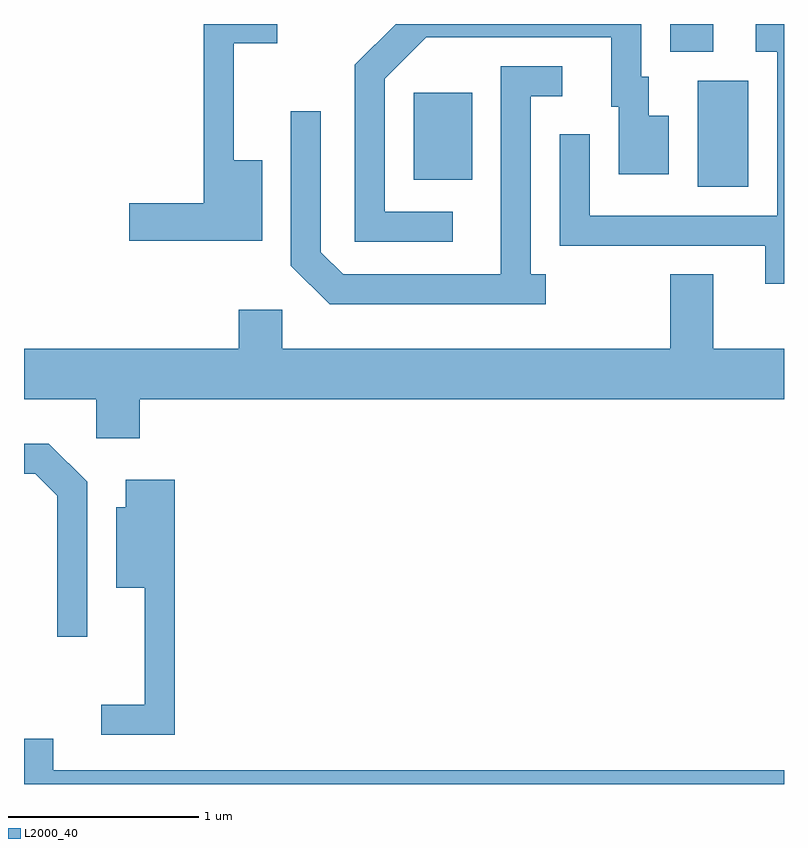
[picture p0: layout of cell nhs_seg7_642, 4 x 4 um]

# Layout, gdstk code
import gdstk
lib = gdstk.Library(unit=1e-6, precision=1e-09)
def R(c, l, rs):  # rectangles x0, y0, x1, y1
    for r in rs: c.add(gdstk.rectangle(r[:2], r[2:], *l))
def P(c, l, *ps):  # polygons
    for p in ps: c.add(gdstk.Polygon(p, *l))
L2000_40 = (2000, 40)

nhs_seg7_642 = lib.new_cell('nhs_seg7_642')
R(nhs_seg7_642, L2000_40, [(207.156,1755.396,207.424,1755.954), (205.661,1755.431,205.969,1755.889), (207.011,1756.106,207.239,1756.252)])
P(nhs_seg7_642, L2000_40, [(205.868,1755.264),(205.509,1755.264),(205.509,1755.964),(205.727,1756.181),(206.701,1756.181),(206.701,1755.816),(206.741,1755.816),(206.741,1755.461),(207.004,1755.461),(207.004,1755.769),(206.899,1755.769),(206.899,1755.974),(206.859,1755.974),(206.859,1756.252),(205.567,1756.252),(205.351,1756.037),(205.351,1755.106),(205.868,1755.106)],
  [(204.864,1755.534),(204.714,1755.534),(204.714,1756.151),(204.943,1756.151),(204.943,1756.252),(204.556,1756.252),(204.556,1755.309),(204.166,1755.309),(204.166,1755.111),(204.864,1755.111)],
  [(207.611,1756.252),(207.463,1756.252),(207.463,1756.106),(207.576,1756.106),(207.576,1755.244),(206.589,1755.244),(206.589,1755.673),(206.431,1755.673),(206.431,1755.086),(207.511,1755.086),(207.511,1754.886),(207.611,1754.886)],
  [(206.358,1754.934),(206.279,1754.934),(206.279,1755.871),(206.443,1755.871),(206.443,1756.029),(206.121,1756.029),(206.121,1754.934),(205.292,1754.934),(205.174,1755.052),(205.174,1755.793),(205.016,1755.793),(205.016,1754.979),(205.219,1754.776),(206.358,1754.776)],
  [(204.219,1754.276),(207.611,1754.276),(207.611,1754.544),(207.239,1754.544),(207.239,1754.934),(207.011,1754.934),(207.011,1754.544),(204.969,1754.544),(204.969,1754.749),(204.741,1754.749),(204.741,1754.544),(203.611,1754.544),(203.611,1754.276),(203.991,1754.276),(203.991,1754.071),(204.219,1754.071)],
  [(203.944,1753.842),(203.742,1754.044),(203.611,1754.044),(203.611,1753.886),(203.669,1753.886),(203.786,1753.769),(203.786,1753.028),(203.944,1753.028)],
  [(204.404,1753.854),(204.146,1753.854),(204.146,1753.709),(204.096,1753.709),(204.096,1753.286),(204.246,1753.286),(204.246,1752.669),(204.018,1752.669),(204.018,1752.511),(204.404,1752.511)],
  [(207.611,1752.324),(203.764,1752.324),(203.764,1752.489),(203.611,1752.489),(203.611,1752.252),(207.611,1752.252)])

lib.write_gds('nhs_seg7_642.gds')
